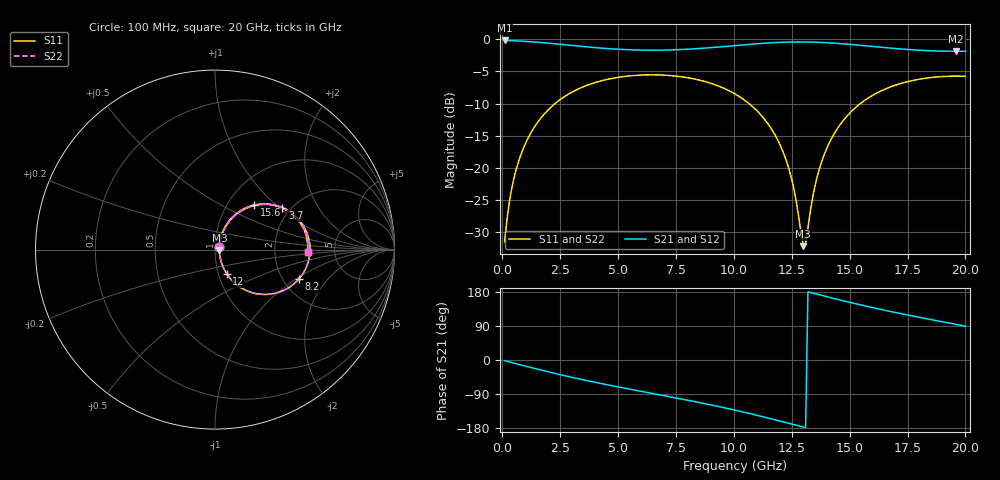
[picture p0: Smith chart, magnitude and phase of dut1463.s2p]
! Touchstone file exported from HFSS 2026.1.0
!  File:  C:/ffzhzh/LocalFiles/Ansys_Project_Files/temp_train_TSV_RDL_1463_1783360478_48288.aedt
!  Generated:  02:09:59 AM Jul  7, 2026
!  Design:  TSV_RDL
!  Project:  temp_train_TSV_RDL_1463_1783360478_48288
! Variables:
!  h_bsmrdl = 4.35um
!  h_ox = 20um
!  h_rdl = 5um
!  h_sub = 81.66um
!  h_tmrdl = 3.08um
!  h_tsv = 81.66um
!  h_via = 3um
!  l_bsmrdl = 603.4um
!  l_sub = 4595.04um
!  l_tmrdl = 563.39um
!  m_sub = 200um
!  pitch = 48.01um
!  r_tsv = 6.34um
!  s_tmrdl = 10um
!  w_bsmrdl = 21.46um
!  w_sub = 500um
!  w_tmrdl = 22.3um
!  x_tsv_center1 = 574.54um
!  x_tsv_center2 = 1199.4um
!  x_tsv_center3 = 1785.09um
!  x_tsv_center4 = 2409.95um
!  x_tsv_center5 = 2995.64um
!  x_tsv_center6 = 3620.5um
# GHz S MA R 50.000000
! Terminal data exported
! Port[1] = TM_RDL1_1_T1
! Port[2] = TM_RDL5_1_T1
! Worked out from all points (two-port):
!   200 points, 100 MHz to 20 GHz, reference 50 ohm
!   highest |S21| = -0.18 dB at 100 MHz (marker M1); lowest = -1.9 dB at 19.6 GHz (marker M2)
!   |S21| within 3 dB of the highest: start of sweep to end of sweep
!   lowest |S11| = -32.2 dB at 13 GHz (marker M3), VSWR 1.05, Z = 52.5 - j0.466 ohm
!   |S11| at or under -10 dB: start of sweep to 2.276 GHz; 10.66 GHz to 15.46 GHz (4.807 GHz wide, 36.8 % of centre)
!   |S22| runs from -32.1 to -5.5 dB; largest |S21 - S12| = 1.7e-14
!   S11 on the Smith chart (normalised r, x): 100 MHz: 1.04, +0.03; 3.7 GHz: 1.81, +1.05; 8.2 GHz: 2.43, -1.06; 12 GHz: 1.10, -0.30; 15.6 GHz: 1.32, +0.74; 20 GHz: 3.12, -0.11
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0.1  0.0267 37.4  0.9791 -1.7  0.9791 -1.7  0.0267 37.4
! Gamma 0 0 0 0
! Port Impedance 50 0 50 0
0.3  0.05372 60.3  0.9764 -5.0  0.9764 -5.0  0.05372 60.3
0.5  0.08272 65.2  0.9732 -8.2  0.9732 -8.2  0.08272 65.2
1.1  0.1688 63.7  0.9607 -17.8  0.9607 -17.8  0.1688 63.7
2.1  0.2966 52.0  0.9289 -33.0  0.9289 -33.0  0.2966 52.0
3.5  0.4275 34.3  0.8775 -52.3  0.8775 -52.3  0.4275 34.3
3.7  0.4415 31.8  0.8708 -54.9  0.8708 -54.9  0.4415 31.8
6.8  0.5281 -3.6  0.823 -91.9  0.823 -91.9  0.5281 -3.6
8.2  0.4952 -19.3  0.8411 -108.4  0.8411 -108.4  0.4952 -19.3
10.1  0.3715 -42.3  0.8952 -133.0  0.8952 -133.0  0.3715 -42.3
11.2  0.2541 -56.0  0.9292 -148.9  0.9292 -148.9  0.2541 -56.0
12  0.1505 -64.2  0.9469 -161.2  0.9469 -161.2  0.1504 -64.1
12.5  0.0814 -63.8  0.9527 -169.0  0.9527 -169.0  0.08139 -63.7
13  0.02464 -10.4  0.9537 -177.0  0.9537 -177.0  0.02483 -10.1
13.1  0.026 21.5  0.9533 -178.6  0.9533 -178.6  0.02621 21.4
13.4  0.05847 60.7  0.9509 176.7  0.9509 176.7  0.05862 60.5
13.7  0.09917 66.4  0.9467 171.9  0.9467 171.9  0.09929 66.2
14.2  0.1668 64.6  0.9364 164.2  0.9364 164.2  0.1669 64.5
15.6  0.3301 48.7  0.8928 143.6  0.8928 143.6  0.3302 48.7
16.7  0.4219 35.4  0.8557 128.8  0.8557 128.8  0.422 35.3
19.6  0.5173 2.8  0.8063 94.0  0.8063 94.0  0.5173 2.8
20  0.5156 -1.5  0.8072 89.3  0.8072 89.3  0.5157 -1.6
